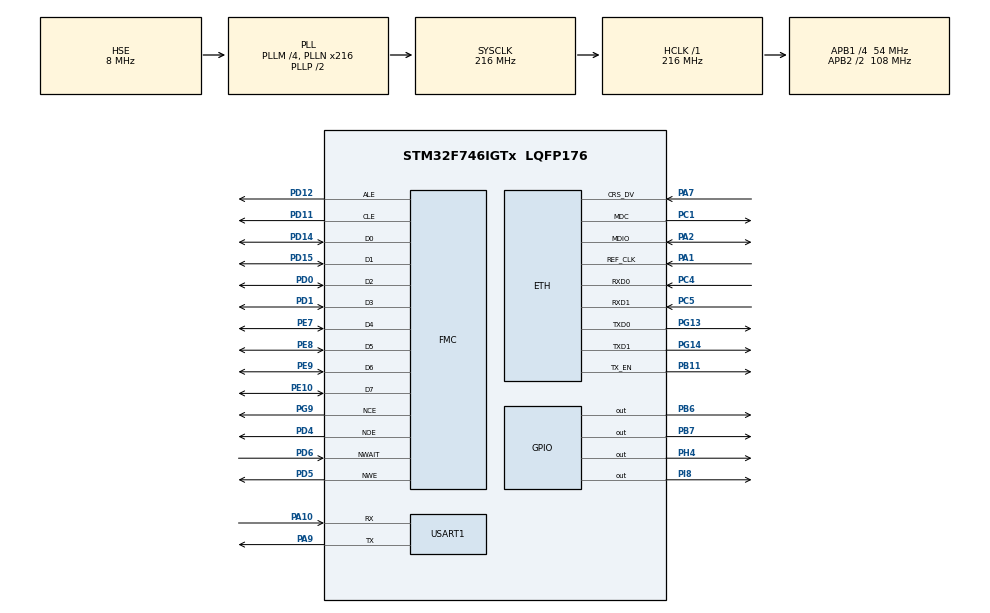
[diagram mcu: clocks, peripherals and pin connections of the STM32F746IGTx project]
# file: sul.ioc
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CORTEX_M7.CPU_DCache=Disabled
CORTEX_M7.CPU_ICache=Disabled
CRC.InputDataInversionMode=CRC_INPUTDATA_INVERSION_BYTE
CRC.OutputDataInversionMode=CRC_OUTPUTDATA_INVERSION_ENABLE
ETH.MediaInterface=ETH_MEDIA_INTERFACE_RMII
ETH.PHY_Name_RMII=DP83848_PHY_ADDRESS
ETH.PhyAddress=1
ETH.RxMode=ETH_RXPOLLING_MODE
FMC.AttributeSpaceHiZSetupTime1=4
FMC.AttributeSpaceHoldSetupTime1=2
FMC.AttributeSpaceSetupTime1=4
FMC.AttributeSpaceWaitSetupTime1=3
FMC.CommonSpaceHiZSetupTime1=4
FMC.CommonSpaceHoldSetupTime1=2
FMC.CommonSpaceSetupTime1=4
FMC.CommonSpaceWaitSetupTime1=3
FMC.ECCPageSize1=FMC_NAND_ECC_PAGE_SIZE_512BYTE
FMC.EccComputation1=FMC_NAND_ECC_ENABLE
FMC.NandBlockNbr1=1024
FMC.NandBlockSize1=64
FMC.NandPageSize1=2048
FMC.NandSpareAreaSize1=64
LWIP.GATEWAY_ADDRESS=192.168.000.001
LWIP.IP_ADDRESS=192.168.000.010
LWIP.LWIP_DHCP=0
LWIP.MEMP_NUM_PBUF=16
LWIP.MEMP_NUM_TCPIP_MSG_API=8
LWIP.MEMP_NUM_TCP_PCB=10
LWIP.MEMP_NUM_TCP_SEG=24
LWIP.NETMASK_ADDRESS=255.255.255.000
LWIP.PBUF_POOL_SIZE=100
LWIP.TCP_MSS=1024
LWIP.TCP_SND_BUF=5840
LWIP.TCP_WND=2920
LWIP.Version=v2.0.3_Cube
Mcu.Family=STM32F7
Mcu.Name=STM32F746IGTx
Mcu.Package=LQFP176
NVIC.ETH_IRQn=true\:0\:0\:false\:false\:true\:true\:true
NVIC.PriorityGroup=NVIC_PRIORITYGROUP_4
NVIC.TIM6_DAC_IRQn=true\:0\:0\:false\:false\:true\:true\:true
PA1.Mode=RMII
PA1.Signal=ETH_REF_CLK
PA10.Mode=Asynchronous
PA10.Signal=USART1_RX
PA13.Mode=Serial_Wire
PA13.Signal=SYS_JTMS-SWDIO
PA14.Mode=Serial_Wire
PA14.Signal=SYS_JTCK-SWCLK
PA2.Mode=RMII
PA2.Signal=ETH_MDIO
PA7.Mode=RMII
PA7.Signal=ETH_CRS_DV
PA9.Mode=Asynchronous
PA9.Signal=USART1_TX
PB11.Mode=RMII
PB11.Signal=ETH_TX_EN
PB6.Signal=GPIO_Output
PB7.Signal=GPIO_Output
PC1.Mode=RMII
PC1.Signal=ETH_MDC
PC4.Mode=RMII
PC4.Signal=ETH_RXD0
PC5.Mode=RMII
PC5.Signal=ETH_RXD1
PD0.GPIO_PuPd=GPIO_PULLUP
PD0.Signal=FMC_D2_DA2
PD1.GPIO_PuPd=GPIO_PULLUP
PD1.Signal=FMC_D3_DA3
PD11.GPIO_PuPd=GPIO_PULLUP
PD11.Signal=FMC_A16_CLE
PD12.GPIO_PuPd=GPIO_PULLUP
PD12.Signal=FMC_A17_ALE
PD14.GPIO_PuPd=GPIO_PULLUP
PD14.Signal=FMC_D0_DA0
PD15.GPIO_PuPd=GPIO_PULLUP
PD15.Signal=FMC_D1_DA1
PD4.GPIO_PuPd=GPIO_PULLUP
PD4.Signal=FMC_NOE
PD5.GPIO_PuPd=GPIO_PULLUP
PD5.Signal=FMC_NWE
PD6.GPIO_PuPd=GPIO_PULLUP
PD6.Signal=FMC_NWAIT
PE10.GPIO_PuPd=GPIO_PULLUP
PE10.Signal=FMC_D7_DA7
PE7.GPIO_PuPd=GPIO_PULLUP
PE7.Signal=FMC_D4_DA4
PE8.GPIO_PuPd=GPIO_PULLUP
PE8.Signal=FMC_D5_DA5
PE9.GPIO_PuPd=GPIO_PULLUP
PE9.Signal=FMC_D6_DA6
PG13.Mode=RMII
PG13.Signal=ETH_TXD0
PG14.Mode=RMII
PG14.Signal=ETH_TXD1
PG9.GPIO_PuPd=GPIO_PULLUP
PG9.Mode=NandChipSelect3_1
PG9.Signal=FMC_NCE
PH0/OSC_IN.Mode=HSE-External-Oscillator
PH0/OSC_IN.Signal=RCC_OSC_IN
PH1/OSC_OUT.Mode=HSE-External-Oscillator
PH1/OSC_OUT.Signal=RCC_OSC_OUT
PH4.Signal=GPIO_Output
PH5.Signal=FMC_SDNWE
PI8.Signal=GPIO_Output
ProjectManager.HeapSize=0x2000
ProjectManager.StackSize=0x4000
ProjectManager.TargetToolchain=MDK-ARM V5
RCC.AHBFreq_Value=216000000
RCC.APB1CLKDivider=RCC_HCLK_DIV4
RCC.APB1Freq_Value=54000000
RCC.APB1TimFreq_Value=108000000
RCC.APB2CLKDivider=RCC_HCLK_DIV2
RCC.APB2Freq_Value=108000000
RCC.APB2TimFreq_Value=216000000
RCC.CortexFreq_Value=216000000
RCC.HCLKFreq_Value=216000000
RCC.HSE_VALUE=8000000
RCC.HSI_VALUE=16000000
RCC.LSE_VALUE=32768
RCC.PLLM=4
RCC.PLLN=216
RCC.PLLSourceVirtual=RCC_PLLSOURCE_HSE
RCC.SYSCLKFreq_VALUE=216000000
RCC.SYSCLKSource=RCC_SYSCLKSOURCE_PLLCLK
RCC.USBFreq_Value=216000000
RCC.VCOOutputFreq_Value=432000000
SH.FMC_A16_CLE.0=FMC_CLE,8b-dmux1
SH.FMC_A17_ALE.0=FMC_ALE,8b-dmux1
SH.FMC_D0_DA0.0=FMC_D0,8b-dmux1
SH.FMC_D1_DA1.0=FMC_D1,8b-dmux1
SH.FMC_D2_DA2.0=FMC_D2,8b-dmux1
SH.FMC_D3_DA3.0=FMC_D3,8b-dmux1
SH.FMC_D4_DA4.0=FMC_D4,8b-dmux1
SH.FMC_D5_DA5.0=FMC_D5,8b-dmux1
SH.FMC_D6_DA6.0=FMC_D6,8b-dmux1
SH.FMC_D7_DA7.0=FMC_D7,8b-dmux1
SH.FMC_NOE.0=FMC_NOE,8b-dmux1
SH.FMC_NWAIT.0=FMC_NWAIT,Wait1
SH.FMC_NWE.0=FMC_NWE,8b-dmux1
SH.FMC_SDNWE.0=FMC_SDNWE
TIM6.Period=9999
TIM6.Prescaler=10799
TIM6.TIM_MasterOutputTrigger=TIM_TRGO_UPDATE
USART1.VirtualMode-Asynchronous=VM_ASYNC
VP_CRC_VS_CRC.Mode=CRC_Activate
VP_LWIP_VS_Enabled.Mode=Enabled
VP_TIM6_VS_ClockSourceINT.Mode=Enable_Timer
board=custom

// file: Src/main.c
/* USER CODE BEGIN Header */
/**
  ******************************************************************************
  * @file           : main.c
  * @brief          : Main program body
  ******************************************************************************
  * @attention
  *
  * <h2><center>&copy; Copyright (c) 2019 STMicroelectronics.
  * All rights reserved.</center></h2>
  *
  * This software component is licensed by ST under Ultimate Liberty license
  * SLA0044, the "License"; You may not use this file except in compliance with
  * the License. You may obtain a copy of the License at:
  *                             www.st.com/SLA0044
  *
  ******************************************************************************
  */
/* USER CODE END Header */

#include "main.h"
#include "crc.h"
#include "gfxsimulator.h"
#include "lwip.h"
#include "tim.h"
#include "usart.h"
#include "gpio.h"
#include "fmc.h"

/* USER CODE BEGIN Includes */
#include "lwip/opt.h"
#include "lwip/init.h"
#include "lwip/netif.h"
#include "lwip/timeouts.h"
#include "netif/etharp.h"
#include "ethernetif.h"
#include "httpserver.h"
#include "tcp_server.h"
#include "scr_crc.h"
#include "scr_flash.h"
#include <stdbool.h>
/* USER CODE END Includes */

/* USER CODE BEGIN PTD */
typedef void (* pFunction) (void);
/* USER CODE END PTD */

/* USER CODE BEGIN PM */
#define FIRMWARE_WAIT_TIME	5
/* USER CODE END PM */

void SystemClock_Config(void);

/* USER CODE BEGIN 0 */
extern struct netif gnetif;
extern TIM_HandleTypeDef htim6;
extern uint8_t tim6_tick;
pFunction jump_to_application;
uint32_t jump_address;
bool flg_wait_connected = false;

void send_str_if_flg_open_connect(char * str)
{
if (flg_wait_connected)
	sendstring(str);
}

/* USER CODE END 0 */

int main(void)
{
  /* USER CODE BEGIN 1 */
	uint32_t value_key;
  /* USER CODE END 1 */

  /* MCU Configuration--------------------------------------------------------*/

  /* Reset of all peripherals, Initializes the Flash interface and the Systick. */
  HAL_Init();

  /* Configure the system clock */
  SystemClock_Config();

  /* Initialize all configured peripherals */
  MX_GPIO_Init();
  MX_USART1_UART_Init();
  MX_LWIP_Init();
  MX_CRC_Init();
  MX_FMC_Init();
  MX_TIM6_Init();
  /* USER CODE BEGIN 2 */
	tcp_server_init();

	wait_time_and_listen(10);

	send_str_if_flg_open_connect("read key from flash memory\n\r");
	wait_time_and_listen(1);

	value_key = read_key_from_flash();

	send_str_if_flg_open_connect("key is ready\n\r");
	wait_time_and_listen(1);

	if (ERASED_MEMORY == value_key) {
		send_str_if_flg_open_connect("firmware not detected. wait firmware\n\r");
		while (1)
			MX_LWIP_Process();
	} else if (KEY_VALUE == value_key) {
		send_str_if_flg_open_connect("firmware detected. starting firmware\n\r");
		wait_time_and_listen(15);
		jump_address = *(__IO uint32_t *)(USER_FLASH_FIRST_PAGE_ADDRESS + 4);
		jump_to_application = (pFunction)jump_address;
		tuning_hardware_for_jump();
		__set_MSP(*(__IO uint32_t *)USER_FLASH_FIRST_PAGE_ADDRESS);
		jump_to_application();
	}

  /* USER CODE END 2 */

  /* Infinite loop */
  while (1)
  {

  }
}

void SystemClock_Config(void)
{
  RCC_OscInitTypeDef RCC_OscInitStruct = {0};
  RCC_ClkInitTypeDef RCC_ClkInitStruct = {0};
  RCC_PeriphCLKInitTypeDef PeriphClkInitStruct = {0};

  /** Configure the main internal regulator output voltage
  */
  __HAL_RCC_PWR_CLK_ENABLE();
  __HAL_PWR_VOLTAGESCALING_CONFIG(PWR_REGULATOR_VOLTAGE_SCALE1);
  /** Initializes the CPU, AHB and APB busses clocks
  */
  RCC_OscInitStruct.OscillatorType = RCC_OSCILLATORTYPE_HSE;
  RCC_OscInitStruct.HSEState = RCC_HSE_ON;
  RCC_OscInitStruct.PLL.PLLState = RCC_PLL_ON;
  RCC_OscInitStruct.PLL.PLLSource = RCC_PLLSOURCE_HSE;
  RCC_OscInitStruct.PLL.PLLM = 4;
  RCC_OscInitStruct.PLL.PLLN = 216;
  RCC_OscInitStruct.PLL.PLLP = RCC_PLLP_DIV2;
  RCC_OscInitStruct.PLL.PLLQ = 2;
  if (HAL_RCC_OscConfig(&RCC_OscInitStruct) != HAL_OK)
  {
    Error_Handler();
  }
  /** Activate the Over-Drive mode
  */
  if (HAL_PWREx_EnableOverDrive() != HAL_OK)
  {
    Error_Handler();
  }
  /** Initializes the CPU, AHB and APB busses clocks
  */
  RCC_ClkInitStruct.ClockType = RCC_CLOCKTYPE_HCLK|RCC_CLOCKTYPE_SYSCLK
                              |RCC_CLOCKTYPE_PCLK1|RCC_CLOCKTYPE_PCLK2;
  RCC_ClkInitStruct.SYSCLKSource = RCC_SYSCLKSOURCE_PLLCLK;
  RCC_ClkInitStruct.AHBCLKDivider = RCC_SYSCLK_DIV1;
  RCC_ClkInitStruct.APB1CLKDivider = RCC_HCLK_DIV4;
  RCC_ClkInitStruct.APB2CLKDivider = RCC_HCLK_DIV2;

  if (HAL_RCC_ClockConfig(&RCC_ClkInitStruct, FLASH_LATENCY_7) != HAL_OK)
  {
    Error_Handler();
  }
  PeriphClkInitStruct.PeriphClockSelection = RCC_PERIPHCLK_USART1;
  PeriphClkInitStruct.Usart1ClockSelection = RCC_USART1CLKSOURCE_PCLK2;
  if (HAL_RCCEx_PeriphCLKConfig(&PeriphClkInitStruct) != HAL_OK)
  {
    Error_Handler();
  }
}

/* USER CODE BEGIN 4 */
void wait_time_and_listen(uint8_t sec)
{
	HAL_TIM_Base_Start_IT(&htim6);
	while(tim6_tick <= sec) {
		MX_LWIP_Process();
	}
	HAL_TIM_Base_Stop_IT(&htim6);
}

void tuning_hardware_for_jump(void)
{
	HAL_DeInit();
	HAL_RCC_DeInit();
	__disable_irq();
	__disable_fault_irq();
}
/* USER CODE END 4 */

void Error_Handler(void)
{
}

/************************ (C) COPYRIGHT STMicroelectronics *****END OF FILE****/
